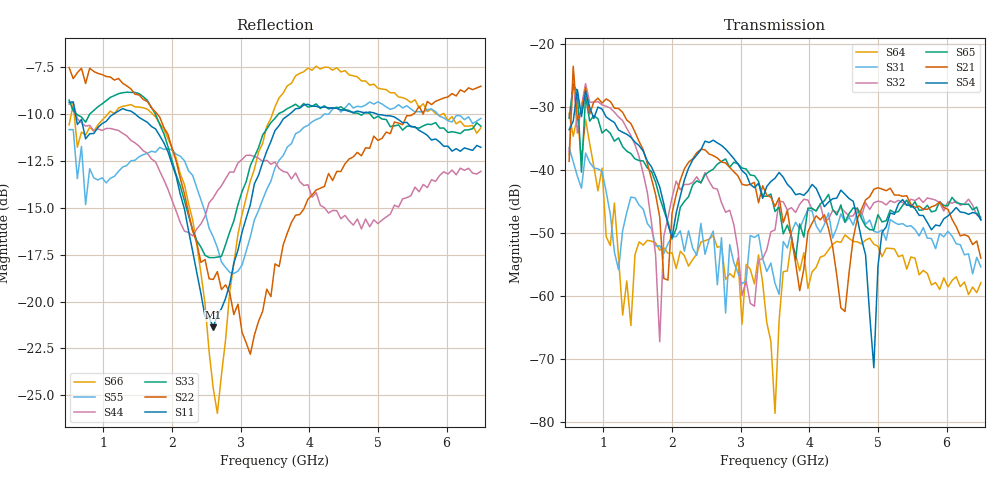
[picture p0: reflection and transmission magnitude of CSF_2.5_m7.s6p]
!Keysight Technologies,M9804A,MY58100912,A.14.10.03
!Date: Thursday, April 27, 2023 10:28:33
!Correction: S11(C  6-Port  )
!S12(C  6-Port  )
!S13(C  6-Port  )
!S14(C  6-Port  )
!S15(C  6-Port  )
!S16(C  6-Port  )
!S21(C  6-Port  )
!S22(C  6-Port  )
!S23(C  6-Port  )
!S24(C  6-Port  )
!S25(C  6-Port  )
!S26(C  6-Port  )
!S31(C  6-Port  )
!S32(C  6-Port  )
!S33(C  6-Port  )
!S34(C  6-Port  )
!S35(C  6-Port  )
!S36(C  6-Port  )
!S41(C  6-Port  )
!S42(C  6-Port  )
!S43(C  6-Port  )
!S44(C  6-Port  )
!S45(C  6-Port  )
!S46(C  6-Port  )
!S51(C  6-Port  )
!S52(C  6-Port  )
!S53(C  6-Port  )
!S54(C  6-Port  )
!S55(C  6-Port  )
!S56(C  6-Port  )
!S61(C  6-Port  )
!S62(C  6-Port  )
!S63(C  6-Port  )
!S64(C  6-Port  )
!S65(C  6-Port  )
!S66(C  6-Port  )
!S6P File: Measurement: :
# Hz S  RI  R 50
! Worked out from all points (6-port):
!   101 points, 500 MHz to 6.5 GHz, reference 50 ohm
!   strongest paths, dB at 500 MHz, 2 GHz, 3.5 GHz, 5 GHz, 6.5 GHz:
!     S54: -33.7, -50.8, -41.4, -55.4, -48.0
!     S21: -38.7, -46.9, -45.8, -42.9, -54.0
!     S65: -31.8, -51.0, -46.6, -47.1, -48.0
!     S32: -37.7, -44.4, -49.6, -45.0, -47.5
!     S31: -36.5, -50.6, -58.0, -50.0, -55.4
!     S64: -31.1, -53.2, -78.7, -52.2, -57.9
!   lowest |S11| = -21.4 dB at 2.6 GHz (marker M1), VSWR 1.19, Z = 42.4 + j2.26 ohm
!   |S11| at or under -10 dB: 592.8 MHz to 1.144 GHz (551.2 MHz wide, 63.5 % of centre); 1.466 GHz to 3.711 GHz (2.244 GHz wide, 86.7 % of centre); 4.99 GHz to end of sweep
